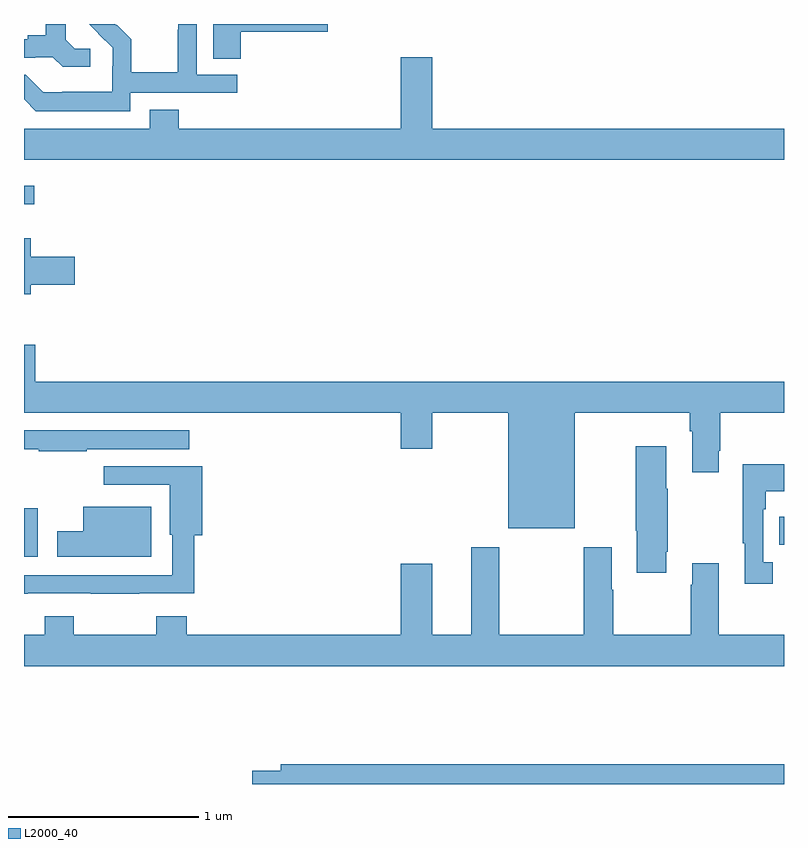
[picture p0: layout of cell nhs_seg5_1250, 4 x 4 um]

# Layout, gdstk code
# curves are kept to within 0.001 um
import gdstk
lib = gdstk.Library(unit=1e-6, precision=1e-09)
def R(c, l, rs):  # rectangles x0, y0, x1, y1
    for r in rs: c.add(gdstk.rectangle(r[:2], r[2:], *l))
def P(c, l, *ps):  # polygons
    for p in ps: c.add(gdstk.Polygon(p, *l))
L2000_40 = (2000, 40)

nhs_seg5_1250 = lib.new_cell('nhs_seg5_1250')
R(nhs_seg5_1250, L2000_40, [(187,863.996,187.072,864.25), (190.975,864.058,191,864.205), (187,865.851,187.054,865.948)])
P(nhs_seg5_1250, L2000_40, [(187.56,866.436),(188.122,866.436),(188.122,866.532),(187.908,866.532),(187.908,866.799),(187.812,866.799),(187.812,866.768),(187.81,866.768),(187.81,866.545),(187.565,866.545),(187.565,866.719),(187.488,866.796),(187.485,866.793),(187.479,866.799),(187.343,866.799),(187.466,866.674),(187.466,866.577),(187.464,866.577),(187.464,866.443),(187.201,866.443),(187.201,866.439),(187.101,866.439),(187.008,866.532),(187,866.532),(187,866.402),(187.063,866.339),(187.56,866.339)],
  [(188.141,866.759),(188.599,866.759),(188.599,866.799),(187.997,866.799),(187.997,866.617),(188.141,866.617)],
  [(187.348,866.67),(187.266,866.67),(187.219,866.717),(187.219,866.799),(187.115,866.799),(187.115,866.741),(187.019,866.741),(187.019,866.718),(187,866.718),(187,866.622),(187.058,866.622),(187.058,866.625),(187.152,866.625),(187.204,866.573),(187.348,866.573)],
  [(191,866.248),(189.148,866.248),(189.148,866.623),(188.984,866.623),(188.984,866.248),(187.814,866.248),(187.814,866.347),(187.661,866.347),(187.661,866.248),(187,866.248),(187,866.084),(191,866.084)],
  [(187.036,865.427),(187.267,865.427),(187.267,865.574),(187.036,865.574),(187.036,865.672),(187,865.672),(187,865.376),(187.036,865.376)],
  [(189.898,864.752),(190.505,864.752),(190.505,864.656),(190.517,864.656),(190.517,864.441),(190.657,864.441),(190.657,864.553),(190.665,864.553),(190.665,864.752),(191,864.752),(191,864.916),(187.058,864.916),(187.058,865.111),(187,865.111),(187,864.752),(188.984,864.752),(188.984,864.564),(189.148,864.564),(189.148,864.752),(189.548,864.752),(189.548,864.146),(189.898,864.146)],
  [(187.331,864.56),(187.87,864.56),(187.87,864.661),(187,864.661),(187,864.56),(187.078,864.56),(187.078,864.55),(187.331,864.55)],
  [(190.381,864.022),(190.389,864.022),(190.389,864.353),(190.381,864.353),(190.381,864.577),(190.219,864.577),(190.219,864.133),(190.226,864.133),(190.226,863.91),(190.381,863.91)],
  [(190.942,863.966),(190.89,863.966),(190.89,864.245),(190.903,864.245),(190.903,864.341),(191,864.341),(191,864.481),(190.782,864.481),(190.782,864.065),(190.793,864.065),(190.793,863.853),(190.942,863.853)],
  [(187.019,863.802),(187.351,863.802),(187.351,863.801),(187.607,863.801),(187.607,863.802),(187.895,863.802),(187.895,864.107),(187.937,864.107),(187.937,864.471),(187.419,864.471),(187.419,864.375),(187.766,864.375),(187.766,864.111),(187.779,864.111),(187.779,863.898),(187,863.898),(187,863.801),(187.019,863.801)],
  [(187.669,864.259),(187.313,864.259),(187.313,864.129),(187.176,864.129),(187.176,863.996),(187.669,863.996)],
  [(191,863.584),(190.657,863.584),(190.657,863.962),(190.517,863.962),(190.517,863.849),(190.51,863.849),(190.51,863.584),(190.101,863.584),(190.101,863.822),(190.093,863.822),(190.093,864.046),(189.946,864.046),(189.946,863.584),(189.501,863.584),(189.501,864.046),(189.353,864.046),(189.353,863.584),(189.148,863.584),(189.148,863.959),(188.984,863.959),(188.984,863.584),(187.856,863.584),(187.856,863.683),(187.696,863.683),(187.696,863.584),(187.263,863.584),(187.263,863.683),(187.108,863.683),(187.108,863.584),(187,863.584),(187,863.42),(191,863.42)],
  [(191,862.904),(188.351,862.904),(188.351,862.868),(188.202,862.868),(188.202,862.799),(191,862.799)])

lib.write_gds('nhs_seg5_1250.gds')
